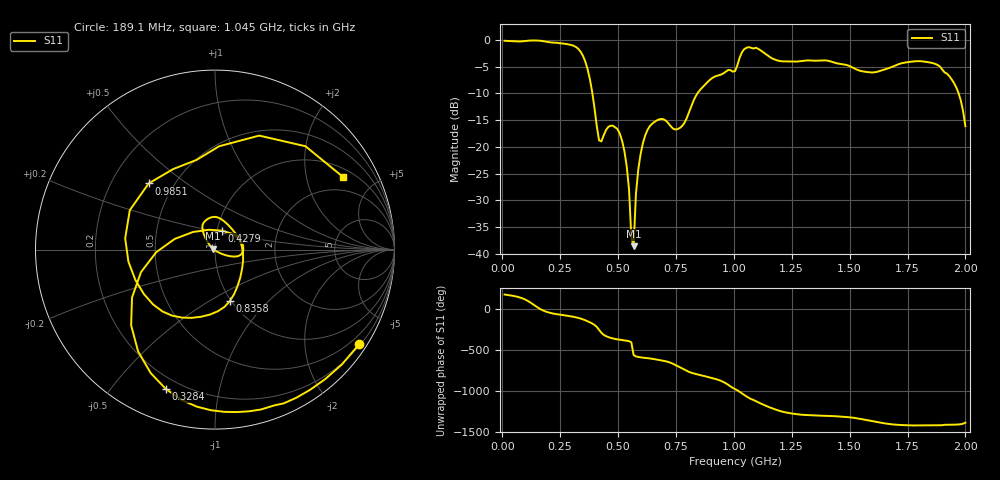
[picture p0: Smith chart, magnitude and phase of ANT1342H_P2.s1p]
!Created with skrf (http://scikit-rf.org).
# Hz S RI R 50.0
!freq ReS11 ImS11
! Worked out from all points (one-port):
!   201 points, 10 MHz to 2 GHz, reference 50 ohm
!   lowest |S11| = -38.5 dB at 567.2 MHz (marker M1), VSWR 1.02, Z = 48.9 + j0.448 ohm
!   |S11| at or under -10 dB: 389.1 MHz to 842.9 MHz (453.8 MHz wide, 73.7 % of centre); 1.971 GHz to end of sweep
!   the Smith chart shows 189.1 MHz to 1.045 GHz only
!   S11 on the Smith chart (normalised r, x): 189.1 MHz: 0.24, -3.34; 328.4 MHz: 0.14, -0.70; 427.9 MHz: 1.06, +0.23; 835.9 MHz: 0.98, -0.62; 985.1 MHz: 0.36, +0.37; 1.045 GHz: 1.33, +3.29
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1e7  -0.9784 0.072
7.965e7  -0.7013 0.6668
1.1945e8  0.1381 0.9768
1.493e8  0.9044 0.3945
1.891e8  0.8045 -0.5257
2.5875e8  0.2557 -0.891
3.284e8  -0.273 -0.7774
3.682e8  -0.4624 -0.2671
4.279e8  0.0394 0.1056
5.075e8  0.1276 -0.037
5.3735e8  0.0581 -0.031
5.672e8  -0.0109 0.00458
5.871e8  -0.0425 0.0438
6.1695e8  -0.0687 0.1077
7.5625e8  0.1343 0.0584
8.3585e8  0.0824 -0.2875
9.254e8  -0.3449 -0.3058
9.851e8  -0.3696 0.3685
1.005e9  -0.1029 0.4997
1.0448e9  0.7131 0.4051
1.07465e9  0.7907 -0.2966
1.11445e9  0.2517 -0.7615
1.17415e9  -0.5175 -0.4083
1.25375e9  -0.599 0.1894
1.5025e9  -0.2525 0.5067
1.75125e9  0.5838 0.2086
1.93035e9  0.4094 0.2073
2e9  0.0953 0.1234
